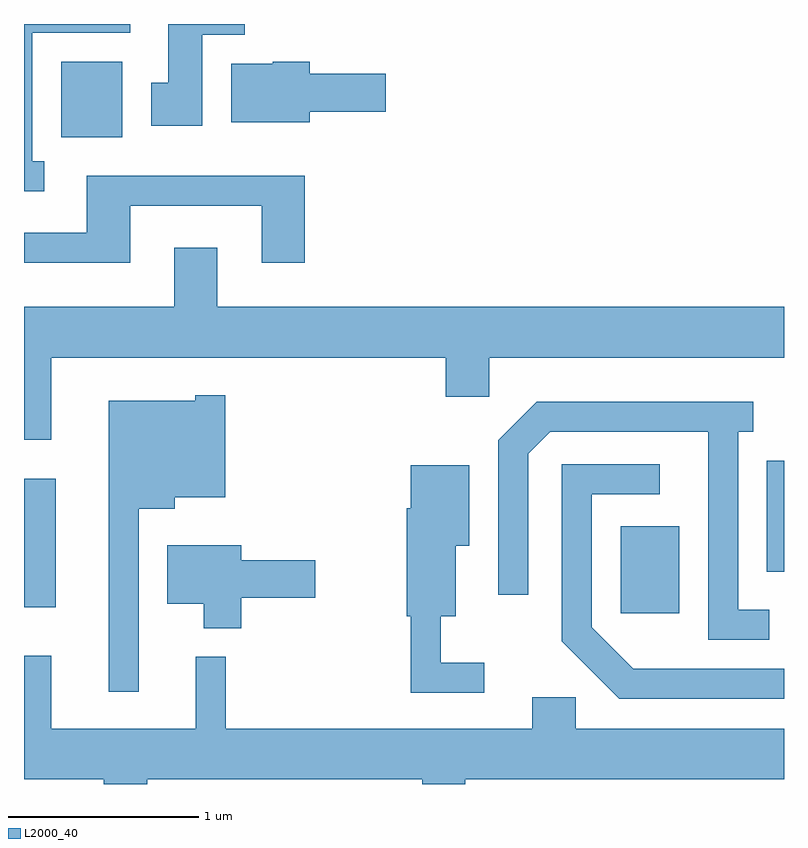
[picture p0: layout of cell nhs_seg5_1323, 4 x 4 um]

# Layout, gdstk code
import gdstk
lib = gdstk.Library(unit=1e-6, precision=1e-09)
def R(c, l, rs):  # rectangles x0, y0, x1, y1
    for r in rs: c.add(gdstk.rectangle(r[:2], r[2:], *l))
def P(c, l, *ps):  # polygons
    for p in ps: c.add(gdstk.Polygon(p, *l))
L2000_40 = (2000, 40)

nhs_seg5_1323 = lib.new_cell('nhs_seg5_1323')
R(nhs_seg5_1323, L2000_40, [(226.751,1490.971,227.059,1491.429), (223.611,1491.001,223.779,1491.679), (227.521,1491.188,227.611,1491.774), (223.806,1493.476,224.129,1493.874)])
P(nhs_seg5_1323, L2000_40, [(224.549,1494.016),(224.774,1494.016),(224.774,1494.072),(224.371,1494.072),(224.371,1493.764),(224.281,1493.764),(224.281,1493.536),(224.549,1493.536)],
  [(223.718,1493.349),(223.654,1493.349),(223.654,1494.026),(224.169,1494.026),(224.169,1494.072),(223.611,1494.072),(223.611,1493.191),(223.718,1493.191)],
  [(225.114,1493.611),(225.514,1493.611),(225.514,1493.809),(225.114,1493.809),(225.114,1493.874),(224.92,1493.874),(224.92,1493.864),(224.701,1493.864),(224.701,1493.556),(225.114,1493.556)],
  [(224.169,1493.116),(224.861,1493.116),(224.861,1492.816),(225.089,1492.816),(225.089,1493.274),(223.941,1493.274),(223.941,1492.974),(223.611,1492.974),(223.611,1492.816),(224.169,1492.816)],
  [(223.754,1492.316),(225.831,1492.316),(225.831,1492.111),(226.059,1492.111),(226.059,1492.316),(227.611,1492.316),(227.611,1492.584),(224.629,1492.584),(224.629,1492.894),(224.401,1492.894),(224.401,1492.584),(223.611,1492.584),(223.611,1491.883),(223.754,1491.883)],
  [(224.214,1491.521),(224.404,1491.521),(224.404,1491.581),(224.669,1491.581),(224.669,1492.119),(224.511,1492.119),(224.511,1492.089),(224.056,1492.089),(224.056,1490.558),(224.214,1490.558)],
  [(227.533,1490.989),(227.369,1490.989),(227.369,1491.926),(227.448,1491.926),(227.448,1492.084),(226.309,1492.084),(226.106,1491.882),(226.106,1491.068),(226.264,1491.068),(226.264,1491.809),(226.382,1491.926),(227.211,1491.926),(227.211,1490.831),(227.533,1490.831)],
  [(227.611,1490.679),(226.817,1490.679),(226.599,1490.897),(226.599,1491.596),(226.958,1491.596),(226.958,1491.754),(226.441,1491.754),(226.441,1490.824),(226.744,1490.521),(227.611,1490.521)],
  [(226.033,1490.709),(225.804,1490.709),(225.804,1490.956),(225.884,1490.956),(225.884,1491.326),(225.954,1491.326),(225.954,1491.749),(225.646,1491.749),(225.646,1491.524),(225.626,1491.524),(225.626,1490.956),(225.646,1490.956),(225.646,1490.551),(226.033,1490.551)],
  [(224.754,1491.051),(225.144,1491.051),(225.144,1491.249),(224.754,1491.249),(224.754,1491.329),(224.366,1491.329),(224.366,1491.021),(224.556,1491.021),(224.556,1490.891),(224.754,1490.891)],
  [(224.259,1490.096),(225.706,1490.096),(225.706,1490.072),(225.934,1490.072),(225.934,1490.096),(227.611,1490.096),(227.611,1490.364),(226.514,1490.364),(226.514,1490.529),(226.286,1490.529),(226.286,1490.364),(224.674,1490.364),(224.674,1490.743),(224.516,1490.743),(224.516,1490.364),(223.754,1490.364),(223.754,1490.748),(223.611,1490.748),(223.611,1490.096),(224.031,1490.096),(224.031,1490.072),(224.259,1490.072)])

lib.write_gds('nhs_seg5_1323.gds')
